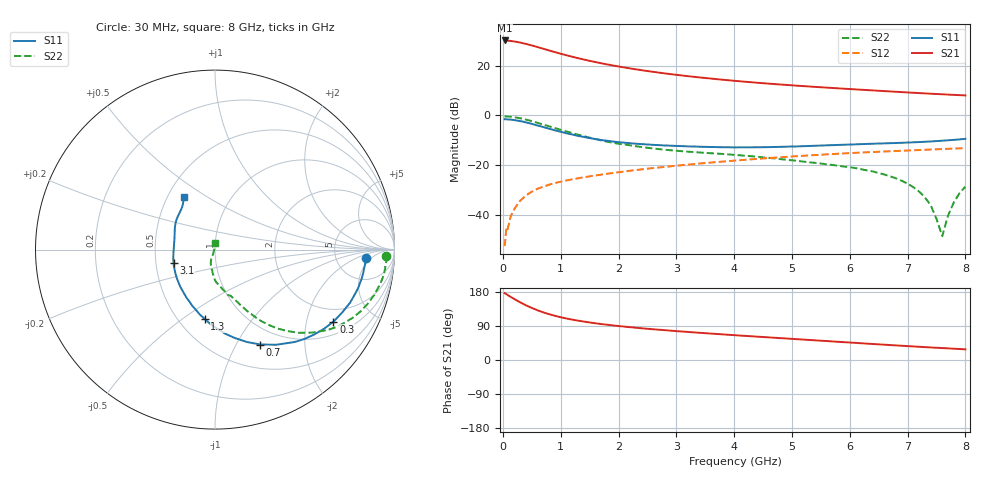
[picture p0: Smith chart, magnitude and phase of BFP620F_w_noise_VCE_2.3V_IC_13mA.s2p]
! Infineon Technologies  Discrete & RF Semiconductors
! BFP620F
! VCE =  2.3 V,  IC =  13 mA
! Common Emitter S-Parameters:  Dec 2014
# GHz  S  MA  R  50
!  f  S11  S21  S12  S22
! GHz  MAG  ANG  MAG  ANG  MAG  ANG  MAG  ANG
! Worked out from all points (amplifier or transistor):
!   95 points, 30 MHz to 8 GHz, reference 50 ohm
!   highest |S21| = 30.1 dB at 30 MHz (marker M1)
!   |S21| within 3 dB of that: start of sweep to 651.3 MHz
!   unconditionally stable (mu >= 1): 3.44 GHz to end of sweep
!   at 300 MHz: K = 0.27, MSG = 31.7 dB, |S12| = -34.2 dB
!   at 3.3 GHz: K = 0.99, MSG = 17.5 dB, |S12| = -19.5 dB
!   at 8 GHz: K = 1.08, MAG = 8.8 dB, |S12| = -13.1 dB
!   lowest NFmin = 0.66 dB at 450 MHz
!   S11 on the Smith chart (normalised r, x): 30 MHz: 11, -3; 300 MHz: 1.46, -2.90; 700 MHz: 0.78, -1.26; 1.3 GHz: 0.67, -0.61; 3.1 GHz: 0.62, -0.10; 8 GHz: 0.60, +0.40
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0.03  0.8417 -3.1  31.95 176.5  0.0024 62.6  0.954 -2.1
0.09  0.8348 -9.7  31.67 170.8  0.006 67.1  0.9523 -7.1
0.15  0.8226 -16.2  31.09 165.3  0.0103 73.6  0.9389 -12.0
0.25  0.7902 -26.4  29.75 156.3  0.0163 70.9  0.9023 -19.6
0.3  0.7724 -31.3  28.94 152.2  0.0196 71.0  0.8796 -23.2
0.4  0.7263 -40.8  27.25 144.3  0.025 68.1  0.826 -29.7
0.5  0.6793 -49.3  25.37 137.4  0.0296 65.3  0.7704 -35.6
0.6  0.63 -57.3  23.53 131.1  0.034 63.3  0.7123 -40.5
0.7  0.5858 -64.5  21.78 125.7  0.0374 61.7  0.658 -44.8
0.8  0.5437 -71.1  20.13 120.9  0.041 60.2  0.6069 -48.4
1  0.4724 -83.0  17.32 112.9  0.0469 58.3  0.5182 -54.3
1.3  0.3903 -98.4  14.1 103.8  0.0551 56.6  0.4129 -60.6
1.4  0.3715 -103.2  13.25 101.4  0.0578 56.4  0.3853 -62.4
1.9  0.3011 -124.4  10.08 91.4  0.0701 55.2  0.2844 -69.9
2.7  0.2545 -151.2  7.237 79.9  0.0907 53.3  0.2118 -81.2
3.1  0.2433 -161.8  6.336 75.2  0.1011 52.1  0.1923 -85.3
4.1  0.2297 176.2  4.853 64.5  0.127 48.1  0.1594 -91.7
5.4  0.2475 155.2  3.748 51.9  0.1611 41.6  0.1124 -99.0
6.7  0.2786 137.5  3.035 39.4  0.192 33.8  0.0602 -111.1
7.3  0.2974 128.4  2.774 34.0  0.2054 30.4  0.0228 -115.7
7.6  0.3123 124.8  2.662 31.5  0.2124 28.7  0.0038 161.5
8  0.3399 121.0  2.526 28.1  0.2217 26.1  0.0375 86.0
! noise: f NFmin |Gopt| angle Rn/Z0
0.45  0.66  0.19  8  0.2
0.9  0.73  0.17  18  0.18
1.5  0.78  0.17  20  0.13
1.8  0.81  0.15  23  0.11
1.9  0.82  0.11  37  0.13
2.4  0.86  0.1  53  0.12
3.5  0.95  0.09  78  0.12
5.5  1.11  0.11  197  0.09
6  1.15  0.1  226  0.13
